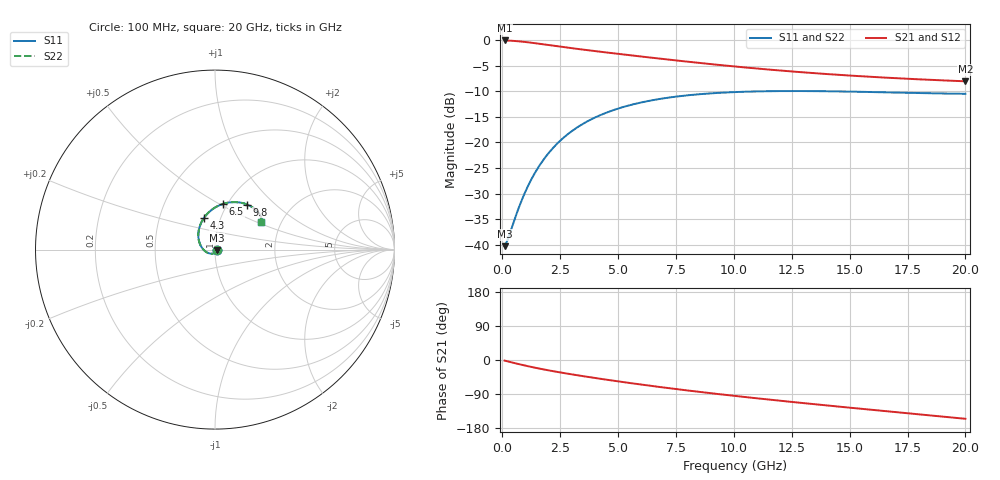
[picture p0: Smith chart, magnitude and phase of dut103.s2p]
! Touchstone file exported from HFSS 2024.1.0
!  File:  C:/UserFiles/LocalFiles/RDL_TSV_Batchsim/temp_RDL_TSV_103_1779420503.aedt
!  Generated:  11:43:23 AM May 22, 2026
!  Design:  RDL_TSV
!  Project:  temp_RDL_TSV_103_1779420503
!  Setup:  Setup1
!  Solution:  Sweep
! Variables:
!  dtsv = 10.33um
!  hbump = 3um
!  htsv = 92.47um
!  ldown = 152.02um
!  lrdl = 353.79um
!  p = 40
!  p1 = 58.82um
!  rhole = 10um
!  subl = 1871.22um
!  t = 450um
!  tdown = 3.86um
!  trdl = 3.08um
!  viad = 10um
!  wdown = 17.71um
!  wrdl = 27.52um
!  xbump = 18um
# GHz S MA R 50.000000
! Terminal data exported
! Port[1] = TM1_1_T1
! Port[2] = TM1_4_T1
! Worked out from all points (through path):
!   200 points, 100 MHz to 20 GHz, reference 50 ohm
!   highest |S21| = -0.09 dB at 100 MHz (marker M1); lowest = -8.1 dB at 20 GHz (marker M2)
!   group delay of S21, straight-line fit = 20.1 ps
!   lowest |S11| = -40.3 dB at 100 MHz (marker M3), VSWR 1.02, Z = 50.9 - j0.348 ohm
!   |S11| at or under -10 dB: start of sweep to 11.42 GHz; 13.91 GHz to end of sweep
!   |S22| runs from -40.3 to -10.0 dB; largest |S21 - S12| = 2.9e-14
!   S11 on the Smith chart (normalised r, x): 100 MHz: 1.02, -0.01; 4.3 GHz: 0.83, +0.31; 6.5 GHz: 0.96, +0.52; 9.8 GHz: 1.23, +0.68; 20 GHz: 1.58, +0.53
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0.1  0.009701 -20.7  0.9901 -1.6  0.9901 -1.6  0.009701 -20.7
! Gamma 0 0 0 0
! Port Impedance 50 0 50 0
0.2  0.01077 -40.2  0.9886 -3.2  0.9886 -3.2  0.01077 -40.2
0.6  0.01962 -99.8  0.9762 -9.2  0.9762 -9.2  0.01962 -99.8
0.9  0.02941 -129.2  0.9619 -13.5  0.9619 -13.5  0.02941 -129.3
1.2  0.0412 -151.5  0.9446 -17.6  0.9446 -17.6  0.04121 -151.5
1.6  0.05918 -174.4  0.9191 -22.7  0.9191 -22.7  0.05919 -174.4
2  0.07871 167.8  0.893 -27.4  0.893 -27.4  0.07873 167.8
2.4  0.09885 153.4  0.8677 -31.7  0.8677 -31.7  0.09889 153.4
2.9  0.1239 138.6  0.838 -36.9  0.838 -36.9  0.1239 138.6
3.5  0.1526 124.3  0.8051 -42.8  0.8051 -42.8  0.1527 124.3
4.3  0.1874 109.0  0.7651 -50.2  0.7651 -50.2  0.1875 109.0
5.3  0.2243 94.0  0.7196 -58.9  0.7196 -58.9  0.2244 94.0
6.5  0.2588 80.0  0.6698 -68.9  0.6698 -68.9  0.2589 80.0
6.8  0.2658 77.0  0.6581 -71.2  0.6581 -71.2  0.2659 77.0
8.3  0.2928 64.2  0.6043 -82.6  0.6043 -82.6  0.293 64.2
9.8  0.3085 54.5  0.5582 -93.1  0.5582 -93.1  0.3087 54.5
10.1  0.3105 52.8  0.5499 -95.2  0.5499 -95.2  0.3107 52.8
11.7  0.3168 45.2  0.5102 -105.6  0.5102 -105.6  0.317 45.2
13.4  0.3171 39.2  0.4759 -116.2  0.4759 -116.2  0.3173 39.2
15  0.3135 35.2  0.4498 -125.8  0.4498 -125.8  0.3137 35.2
16.7  0.3079 32.4  0.4274 -135.8  0.4274 -135.8  0.3081 32.5
20  0.2984 30.7  0.3952 -155.1  0.3952 -155.1  0.2985 30.7
